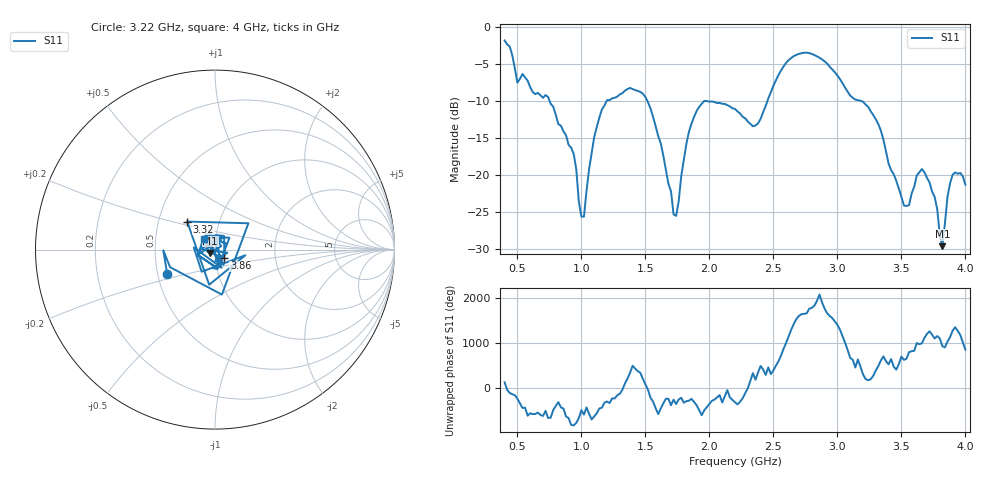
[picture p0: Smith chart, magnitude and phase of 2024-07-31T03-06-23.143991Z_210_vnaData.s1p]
!Created with skrf (http://scikit-rf.org).
# Hz S RI R 50.0
!freq ReS11 ImS11
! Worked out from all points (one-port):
!   181 points, 400 MHz to 4 GHz, reference 50 ohm
!   lowest |S11| = -29.6 dB at 3.82 GHz (marker M1), VSWR 1.07, Z = 47.3 - j1.77 ohm
!   |S11| at or under -10 dB: 751 MHz to 1.198 GHz (447 MHz wide, 45.9 % of centre); 1.514 GHz to 2.454 GHz (939.5 MHz wide, 47.3 % of centre); 3.181 GHz to end of sweep
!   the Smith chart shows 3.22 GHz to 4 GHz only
!   S11 on the Smith chart (normalised r, x): 3.22 GHz: 0.56, -0.17; 3.32 GHz: 0.70, +0.23; 3.86 GHz: 1.10, -0.11; 4 GHz: 0.88, +0.10
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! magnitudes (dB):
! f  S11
! 400 MHz  -1.9
! 500 MHz  -7.6
! 740 MHz  -9.5
! 860 MHz  -14.1
! 940 MHz  -17.2
! 980 MHz  -23.6
! 1.02 GHz  -25.6
! 1.14 GHz  -12.3
! 1.3 GHz  -9.1
! 1.5 GHz  -9.5
! 1.62 GHz  -15.7
! 1.72 GHz  -25.3
! 1.76 GHz  -23.6
! 1.82 GHz  -15.8
! 1.9 GHz  -11.4
! 2.2 GHz  -11.1
! 2.38 GHz  -13.1
! 2.66 GHz  -4.0
! 3.1 GHz  -9.3
! 3.22 GHz  -10.5
! 3.32 GHz  -13.2
! 3.56 GHz  -24.1
! 3.66 GHz  -19.2
! 3.76 GHz  -23.0
! 3.82 GHz  -29.6
! 3.86 GHz  -23.0
! 3.92 GHz  -19.7
! 4 GHz  -21.3
